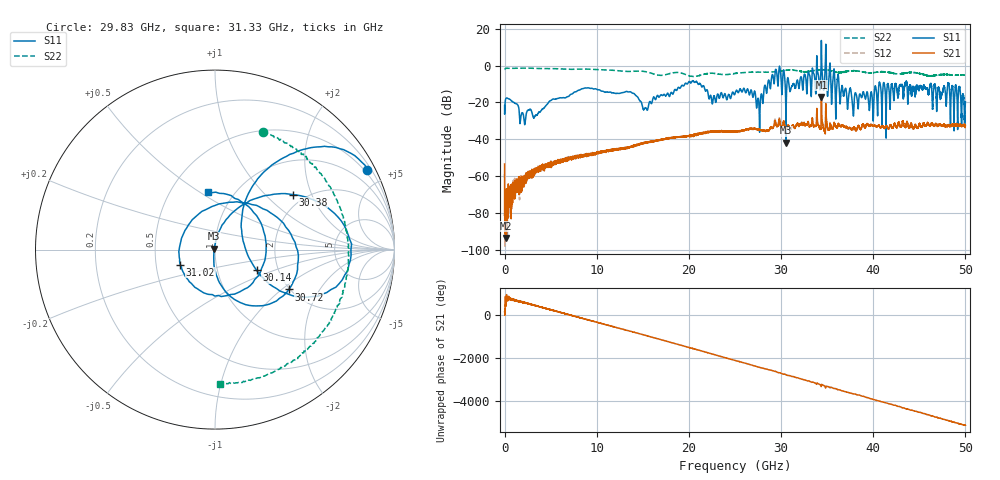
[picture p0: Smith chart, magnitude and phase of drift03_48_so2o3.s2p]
!Created with skrf (http://scikit-rf.org).
# Hz S RI R 50.0
!freq ReS11 ImS11 ReS21 ImS21 ReS12 ImS12 ReS22 ImS22
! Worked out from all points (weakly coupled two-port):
!   10001 points, 300 kHz to 50 GHz, reference 50 ohm
!   highest |S21| = -16.94 dB at 34.38 GHz (marker M1); lowest = -93.5 dB at 190.3 MHz (marker M2)
!   lowest |S11| = -41.8 dB at 30.53 GHz (marker M3), VSWR 1.02, Z = 49.3 + j0.43 ohm
!   |S11| at or under -10 dB: start of sweep to 19.55 GHz; 21.25 GHz to 28.55 GHz (7.297 GHz wide, 29.3 % of centre); 36.28 GHz to 40.62 GHz (4.338 GHz wide, 11.3 % of centre) (the widest 3 of 43)
!   |S22| runs from -5.9 to -1.3 dB; largest |S21 - S12| = 0.029
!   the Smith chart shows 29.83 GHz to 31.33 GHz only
!   S11 on the Smith chart (normalised r, x): 29.83 GHz: 0.41, +4.02; 30.14 GHz: 1.55, -0.38; 30.38 GHz: 1.73, +1.48; 30.72 GHz: 1.98, -1.12; 31.02 GHz: 0.67, -0.12; 31.33 GHz: 0.76, +0.54
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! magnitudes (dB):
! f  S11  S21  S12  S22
! 300 kHz  -21.7  -53.4  -58.5  -2.1
! 190.3 MHz  -17.6  -93.5  -72.9  -1.5
! 3.3 GHz  -27.3  -58.2  -56.5  -1.5
! 8.335 GHz  -12.6  -48.8  -48.6  -1.9
! 15.28 GHz  -22.8  -41.7  -41.9  -3.3
! 16.67 GHz  -16.5  -40.7  -40.4  -5.2
! 20.26 GHz  -9.1  -38.1  -38.2  -5.8
! 22.71 GHz  -16.4  -35.7  -35.8  -4.2
! 25 GHz  -15.3  -36.1  -35.7  -4.3
! 27.53 GHz  -17.8  -34.7  -34.5  -3.5
! 29.83 GHz  -0.4  -29.2  -28.4  -3.0
! 30.14 GHz  -11.7  -33.1  -33.3  -2.8
! 30.38 GHz  -5.5  -32.1  -32.5  -2.6
! 30.53 GHz  -41.8  -34.1  -34.1  -2.5
! 30.72 GHz  -6.6  -32.6  -32.7  -2.5
! 31.02 GHz  -13.5  -34.5  -34.2  -2.4
! 31.33 GHz  -9.9  -32.4  -32.5  -2.5
! 33.34 GHz  -7.4  -31.3  -31.2  -2.9
! 34.38 GHz  12.9  -16.9  -18.2  -2.3
! 37.86 GHz  -27.2  -33.9  -34.1  -2.8
! 41.67 GHz  -11.5  -34.2  -34.1  -3.6
! 50 GHz  -19.6  -32.3  -32.6  -5.0
